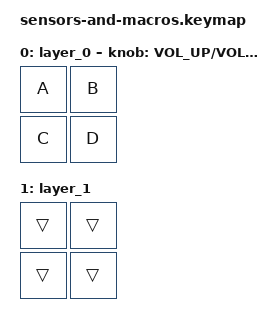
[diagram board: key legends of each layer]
/*
 * Hard .keymap corpus: sensor-bindings on some layers and a #define in combo bindings.
 * Covers R2-2/R2-3 (macros_expanded without rewriting the combo block on a no-op Save).
 */

#define ESC_KEY ESC

#include <behaviors.dtsi>
#include <dt-bindings/zmk/keys.h>

/ {
    combos {
        compatible = "zmk,combos";
        combo_esc {
            bindings = <&kp ESC_KEY>;
            key-positions = <0 1>;
        };
    };

    keymap {
        compatible = "zmk,keymap";

        layer_0 {
            bindings = <
&kp A &kp B
&kp C &kp D
            >;
            sensor-bindings = <&inc_dec_kp C_VOL_UP C_VOL_DN>;
        };

        layer_1 {
            bindings = <
&trans &trans
&trans &trans
            >;
        };
    };
};
